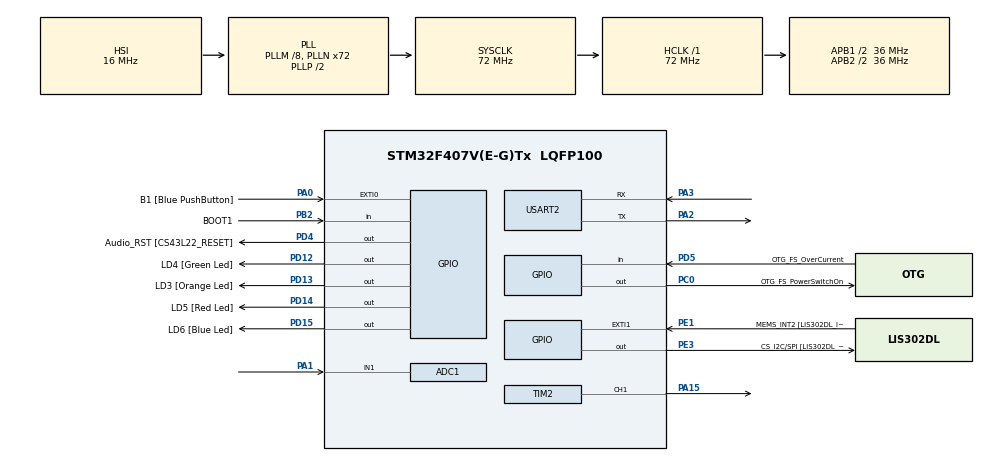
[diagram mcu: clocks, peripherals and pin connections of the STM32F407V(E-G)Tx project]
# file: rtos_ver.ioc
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ADC1.Channel-0\#ChannelRegularConversion=ADC_CHANNEL_1
ADC1.ContinuousConvMode=ENABLE
ADC1.NbrOfConversionFlag=1
ADC1.Rank-0\#ChannelRegularConversion=1
ADC1.SamplingTime-0\#ChannelRegularConversion=ADC_SAMPLETIME_144CYCLES
ADC1.master=1
Dma.ADC1.0.Direction=DMA_PERIPH_TO_MEMORY
Dma.ADC1.0.FIFOMode=DMA_FIFOMODE_DISABLE
Dma.ADC1.0.Instance=DMA2_Stream0
Dma.ADC1.0.MemDataAlignment=DMA_MDATAALIGN_BYTE
Dma.ADC1.0.MemInc=DMA_MINC_ENABLE
Dma.ADC1.0.Mode=DMA_CIRCULAR
Dma.ADC1.0.PeriphDataAlignment=DMA_PDATAALIGN_BYTE
Dma.ADC1.0.PeriphInc=DMA_PINC_DISABLE
Dma.ADC1.0.Priority=DMA_PRIORITY_LOW
Dma.Request0=ADC1
Mcu.Family=STM32F4
Mcu.Name=STM32F407V(E-G)Tx
Mcu.Package=LQFP100
NVIC.DMA2_Stream0_IRQn=true\:0\:0\:false\:false\:true\:false\:true\:true
NVIC.PriorityGroup=NVIC_PRIORITYGROUP_4
NVIC.TIM6_DAC_IRQn=true\:0\:0\:true\:false\:true\:false\:true\:true
NVIC.TimeBase=TIM6_DAC_IRQn
NVIC.TimeBaseIP=TIM6
NVIC.USART2_IRQn=true\:6\:0\:true\:false\:true\:true\:true\:true
PA0-WKUP.GPIO_Label=B1 [Blue PushButton]
PA0-WKUP.Signal=GPXTI0
PA1.Signal=ADCx_IN1
PA10.GPIO_Label=OTG_FS_ID
PA10.GPIO_Mode=GPIO_MODE_AF_PP
PA10.GPIO_PuPd=GPIO_NOPULL
PA10.GPIO_Speed=GPIO_SPEED_FREQ_LOW
PA10.Signal=USB_OTG_FS_ID
PA11.GPIO_Label=OTG_FS_DM
PA11.GPIO_Mode=GPIO_MODE_AF_PP
PA11.GPIO_PuPd=GPIO_NOPULL
PA11.GPIO_Speed=GPIO_SPEED_FREQ_LOW
PA11.Signal=USB_OTG_FS_DM
PA12.GPIO_Label=OTG_FS_DP
PA12.GPIO_Mode=GPIO_MODE_AF_PP
PA12.GPIO_PuPd=GPIO_NOPULL
PA12.GPIO_Speed=GPIO_SPEED_FREQ_LOW
PA12.Signal=USB_OTG_FS_DP
PA13.GPIO_Label=SWDIO
PA13.Mode=Serial_Wire
PA13.Signal=SYS_JTMS-SWDIO
PA14.GPIO_Label=SWCLK
PA14.Mode=Serial_Wire
PA14.Signal=SYS_JTCK-SWCLK
PA15.Signal=S_TIM2_CH1_ETR
PA2.Mode=Asynchronous
PA2.Signal=USART2_TX
PA3.Mode=Asynchronous
PA3.Signal=USART2_RX
PA4.GPIO_Label=I2S3_WS [CS43L22_LRCK]
PA4.GPIO_Mode=GPIO_MODE_AF_PP
PA4.GPIO_PuPd=GPIO_NOPULL
PA4.GPIO_Speed=GPIO_SPEED_FREQ_LOW
PA4.Signal=I2S3_WS
PA5.GPIO_Label=SPI1_SCK [LIS302DL_SCL/SPC]
PA5.GPIO_Mode=GPIO_MODE_AF_PP
PA5.GPIO_PuPd=GPIO_NOPULL
PA5.GPIO_Speed=GPIO_SPEED_FREQ_LOW
PA5.Signal=SPI1_SCK
PA6.GPIO_Label=SPI1_MISO [LIS302DL_SDO]
PA6.GPIO_Mode=GPIO_MODE_AF_PP
PA6.GPIO_PuPd=GPIO_NOPULL
PA6.GPIO_Speed=GPIO_SPEED_FREQ_LOW
PA6.Signal=SPI1_MISO
PA7.GPIO_Label=SPI1_MOSI [LIS302DL_SDA/SDI/SDO]
PA7.GPIO_Mode=GPIO_MODE_AF_PP
PA7.GPIO_PuPd=GPIO_NOPULL
PA7.GPIO_Speed=GPIO_SPEED_FREQ_LOW
PA7.Signal=SPI1_MOSI
PA9.GPIO_Label=VBUS_FS
PA9.GPIO_Mode=GPIO_MODE_INPUT
PA9.GPIO_PuPd=GPIO_NOPULL
PA9.Signal=USB_OTG_FS_VBUS
PB10.GPIO_Label=CLK_IN [MP45DT02_CLK]
PB10.GPIO_Mode=GPIO_MODE_AF_PP
PB10.GPIO_PuPd=GPIO_NOPULL
PB10.GPIO_Speed=GPIO_SPEED_FREQ_LOW
PB10.Signal=I2S2_CK
PB2.GPIO_Label=BOOT1
PB2.GPIO_Mode=GPIO_MODE_INPUT
PB2.GPIO_PuPd=GPIO_NOPULL
PB2.Signal=GPIO_Input
PB3.GPIO_Label=SWO
PB3.Signal=SYS_JTDO-SWO
PB6.GPIO_Label=Audio_SCL [CS43L22_SCL]
PB6.GPIO_Mode=GPIO_MODE_AF_OD
PB6.GPIO_PuPd=GPIO_NOPULL
PB6.GPIO_Speed=GPIO_SPEED_FREQ_LOW
PB6.Signal=I2C1_SCL
PB9.GPIO_Label=Audio_SDA [CS43L22_SDA]
PB9.GPIO_Mode=GPIO_MODE_AF_OD
PB9.GPIO_PuPd=GPIO_NOPULL
PB9.GPIO_Speed=GPIO_SPEED_FREQ_LOW
PB9.Signal=I2C1_SDA
PC0.GPIO_Label=OTG_FS_PowerSwitchOn
PC0.GPIO_PuPd=GPIO_NOPULL
PC0.GPIO_Speed=GPIO_SPEED_FREQ_LOW
PC0.PinState=GPIO_PIN_SET
PC0.Signal=GPIO_Output
PC10.GPIO_Label=I2S3_SCK [CS43L22_SCLK]
PC10.GPIO_Mode=GPIO_MODE_AF_PP
PC10.GPIO_PuPd=GPIO_NOPULL
PC10.GPIO_Speed=GPIO_SPEED_FREQ_LOW
PC10.Signal=I2S3_CK
PC12.GPIO_Label=I2S3_SD [CS43L22_SDIN]
PC12.GPIO_Mode=GPIO_MODE_AF_PP
PC12.GPIO_PuPd=GPIO_NOPULL
PC12.GPIO_Speed=GPIO_SPEED_FREQ_LOW
PC12.Signal=I2S3_SD
PC14-OSC32_IN.GPIO_Label=PC14-OSC32_IN
PC14-OSC32_IN.Signal=RCC_OSC32_IN
PC15-OSC32_OUT.GPIO_Label=PC15-OSC32_OUT
PC15-OSC32_OUT.Signal=RCC_OSC32_OUT
PC3.GPIO_Label=PDM_OUT [MP45DT02_DOUT]
PC3.GPIO_Mode=GPIO_MODE_AF_PP
PC3.GPIO_PuPd=GPIO_NOPULL
PC3.GPIO_Speed=GPIO_SPEED_FREQ_LOW
PC3.Signal=I2S2_SD
PC7.GPIO_Label=I2S3_MCK [CS43L22_MCLK]
PC7.GPIO_Mode=GPIO_MODE_AF_PP
PC7.GPIO_PuPd=GPIO_NOPULL
PC7.GPIO_Speed=GPIO_SPEED_FREQ_LOW
PC7.Signal=I2S3_MCK
PD12.GPIO_Label=LD4 [Green Led]
PD12.GPIO_PuPd=GPIO_NOPULL
PD12.GPIO_Speed=GPIO_SPEED_FREQ_LOW
PD12.Signal=GPIO_Output
PD13.GPIO_Label=LD3 [Orange Led]
PD13.GPIO_PuPd=GPIO_NOPULL
PD13.GPIO_Speed=GPIO_SPEED_FREQ_LOW
PD13.Signal=GPIO_Output
PD14.GPIO_Label=LD5 [Red Led]
PD14.GPIO_PuPd=GPIO_NOPULL
PD14.GPIO_Speed=GPIO_SPEED_FREQ_LOW
PD14.Signal=GPIO_Output
PD15.GPIO_Label=LD6 [Blue Led]
PD15.GPIO_PuPd=GPIO_NOPULL
PD15.GPIO_Speed=GPIO_SPEED_FREQ_LOW
PD15.Signal=GPIO_Output
PD4.GPIO_Label=Audio_RST [CS43L22_RESET]
PD4.GPIO_PuPd=GPIO_NOPULL
PD4.GPIO_Speed=GPIO_SPEED_FREQ_LOW
PD4.Signal=GPIO_Output
PD5.GPIO_Label=OTG_FS_OverCurrent
PD5.GPIO_Mode=GPIO_MODE_INPUT
PD5.GPIO_PuPd=GPIO_NOPULL
PD5.Signal=GPIO_Input
PE1.GPIO_Label=MEMS_INT2 [LIS302DL_INT2]
PE1.GPIO_ModeDefaultEXTI=GPIO_MODE_EVT_RISING
PE1.GPIO_PuPd=GPIO_NOPULL
PE1.Signal=GPXTI1
PE3.GPIO_Label=CS_I2C/SPI [LIS302DL_CS_I2C/SPI]
PE3.GPIO_PuPd=GPIO_NOPULL
PE3.GPIO_Speed=GPIO_SPEED_FREQ_LOW
PE3.Signal=GPIO_Output
PH0-OSC_IN.GPIO_Label=PH0-OSC_IN
PH0-OSC_IN.Signal=RCC_OSC_IN
PH1-OSC_OUT.GPIO_Label=PH1-OSC_OUT
PH1-OSC_OUT.Signal=RCC_OSC_OUT
ProjectManager.HeapSize=0x200
ProjectManager.StackSize=0x400
ProjectManager.TargetToolchain=STM32CubeIDE
RCC.48MHZClocksFreq_Value=20571428.57142857
RCC.AHBFreq_Value=72000000
RCC.APB1CLKDivider=RCC_HCLK_DIV2
RCC.APB1Freq_Value=36000000
RCC.APB1TimFreq_Value=72000000
RCC.APB2CLKDivider=RCC_HCLK_DIV2
RCC.APB2Freq_Value=36000000
RCC.APB2TimFreq_Value=72000000
RCC.CortexFreq_Value=72000000
RCC.HCLKFreq_Value=72000000
RCC.HSE_VALUE=8000000
RCC.HSI_VALUE=16000000
RCC.LSE_VALUE=32768
RCC.PLLM=8
RCC.PLLN=72
RCC.PLLQ=7
RCC.SYSCLKFreq_VALUE=72000000
RCC.SYSCLKSource=RCC_SYSCLKSOURCE_PLLCLK
RCC.VCOOutputFreq_Value=144000000
SH.ADCx_IN1.0=ADC1_IN1,IN1
SH.S_TIM2_CH1_ETR.0=TIM2_CH1,PWM Generation1 CH1
TIM2.AutoReloadPreload=TIM_AUTORELOAD_PRELOAD_DISABLE
TIM2.Channel-PWM\ Generation1\ CH1=TIM_CHANNEL_1
TIM2.Period=100
TIM2.Prescaler=72-1
TIM7.AutoReloadPreload=TIM_AUTORELOAD_PRELOAD_DISABLE
TIM7.Prescaler=72-1
USART2.VirtualMode=VM_ASYNC
VP_SYS_VS_tim6.Mode=TIM6
VP_TIM2_VS_ClockSourceINT.Mode=Internal
VP_TIM7_VS_ClockSourceINT.Mode=Enable_Timer
board=STM32F407G-DISC1

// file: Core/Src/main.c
/* USER CODE BEGIN Header */
/**
  ******************************************************************************
  * @file           : main.c
  * @brief          : Main program body
  ******************************************************************************
  * @attention
  *
  * Copyright (c) 2024 STMicroelectronics.
  * All rights reserved.
  *
  * This software is licensed under terms that can be found in the LICENSE file
  * in the root directory of this software component.
  * If no LICENSE file comes with this software, it is provided AS-IS.
  *
  ******************************************************************************
  */
/* USER CODE END Header */
#include "main.h"

ADC_HandleTypeDef hadc1;
DMA_HandleTypeDef hdma_adc1;

TIM_HandleTypeDef htim2;
TIM_HandleTypeDef htim7;

UART_HandleTypeDef huart2;

/* USER CODE BEGIN PV */
TaskHandle_t read_sensor_handler;
TaskHandle_t pwm_control_handler;

QueueHandle_t q_mode;
QueueHandle_t q_sensor;

volatile uint8_t mode;

uint16_t ADC_Data = 0;
int ADC_Converted = 0;
/* USER CODE END PV */

void SystemClock_Config(void);
static void MX_GPIO_Init(void);
static void MX_DMA_Init(void);
static void MX_USART2_UART_Init(void);
static void MX_TIM7_Init(void);
static void MX_TIM2_Init(void);
static void MX_ADC1_Init(void);

/* USER CODE BEGIN 0 */
long map(long x, long in_min, long in_max, long out_min, long out_max)
{
	return (x-in_min) * (out_max-out_min+1) / (in_max-in_min+1) + out_min;
}

void HAL_ADC_ConvCpltCallback(ADC_HandleTypeDef* hadc)
{
    // Conversion Complete & DMA Transfer Complete As Well
    ADC_Converted = map (ADC_Data, 0, 4095, 50, 100);

    TIM2->CCR1 = ADC_Converted;

}

/* This function called from UART interrupt handler , hence executes in interrupt context */
void HAL_UART_RxCpltCallback(UART_HandleTypeDef *huart)
{
	if(! xQueueIsQueueFullFromISR(q_mode))
	{
		xQueueSendFromISR(q_mode, (void*) &mode, NULL);

	}

	/* Enable UART data byte reception again in IT mode */
	 HAL_UART_Receive_IT(&huart2, (uint8_t*)&mode, 1);

}

/* USER CODE END 0 */

int main(void)
{
  /* USER CODE BEGIN 1 */
	UBaseType_t status;
  /* USER CODE END 1 */

  /* MCU Configuration--------------------------------------------------------*/

  /* Reset of all peripherals, Initializes the Flash interface and the Systick. */
  HAL_Init();

  /* Configure the system clock */
  SystemClock_Config();

  /* Initialize all configured peripherals */
  MX_GPIO_Init();
  MX_DMA_Init();
  MX_USART2_UART_Init();
  MX_TIM7_Init();
  MX_TIM2_Init();
  MX_ADC1_Init();
  /* USER CODE BEGIN 2 */

  //Timer delay
  HAL_TIM_Base_Start(&htim7);

  //Timer PWM
  HAL_TIM_PWM_Start(&htim2, TIM_CHANNEL_1);

  HAL_ADC_Start_DMA(&hadc1, (uint32_t*) &ADC_Data, 1);

  status = xTaskCreate(read_sensor, "Sensor reading", 500, NULL, 2, &read_sensor_handler);
  configASSERT(status==pdPASS);

  status = xTaskCreate(pwm_control, "PWM control", 500, NULL, 2, &pwm_control_handler);
  configASSERT(status==pdPASS);

  q_mode = xQueueCreate(1, sizeof(char));
  configASSERT(q_mode != NULL);

  q_sensor = xQueueCreate(10, sizeof(sensor_t));
  configASSERT(q_sensor != NULL);

  HAL_UART_Receive_IT(&huart2, (uint8_t*)&mode, 1);

  vTaskStartScheduler();
  /* USER CODE END 2 */

  /* Infinite loop */
  while (1)
  {

  }
}

void SystemClock_Config(void)
{
  RCC_OscInitTypeDef RCC_OscInitStruct = {0};
  RCC_ClkInitTypeDef RCC_ClkInitStruct = {0};

  /** Configure the main internal regulator output voltage
  */
  __HAL_RCC_PWR_CLK_ENABLE();
  __HAL_PWR_VOLTAGESCALING_CONFIG(PWR_REGULATOR_VOLTAGE_SCALE1);

  /** Initializes the RCC Oscillators according to the specified parameters
  * in the RCC_OscInitTypeDef structure.
  */
  RCC_OscInitStruct.OscillatorType = RCC_OSCILLATORTYPE_HSI;
  RCC_OscInitStruct.HSIState = RCC_HSI_ON;
  RCC_OscInitStruct.HSICalibrationValue = RCC_HSICALIBRATION_DEFAULT;
  RCC_OscInitStruct.PLL.PLLState = RCC_PLL_ON;
  RCC_OscInitStruct.PLL.PLLSource = RCC_PLLSOURCE_HSI;
  RCC_OscInitStruct.PLL.PLLM = 8;
  RCC_OscInitStruct.PLL.PLLN = 72;
  RCC_OscInitStruct.PLL.PLLP = RCC_PLLP_DIV2;
  RCC_OscInitStruct.PLL.PLLQ = 7;
  if (HAL_RCC_OscConfig(&RCC_OscInitStruct) != HAL_OK)
  {
    Error_Handler();
  }

  /** Initializes the CPU, AHB and APB buses clocks
  */
  RCC_ClkInitStruct.ClockType = RCC_CLOCKTYPE_HCLK|RCC_CLOCKTYPE_SYSCLK
                              |RCC_CLOCKTYPE_PCLK1|RCC_CLOCKTYPE_PCLK2;
  RCC_ClkInitStruct.SYSCLKSource = RCC_SYSCLKSOURCE_PLLCLK;
  RCC_ClkInitStruct.AHBCLKDivider = RCC_SYSCLK_DIV1;
  RCC_ClkInitStruct.APB1CLKDivider = RCC_HCLK_DIV2;
  RCC_ClkInitStruct.APB2CLKDivider = RCC_HCLK_DIV2;

  if (HAL_RCC_ClockConfig(&RCC_ClkInitStruct, FLASH_LATENCY_2) != HAL_OK)
  {
    Error_Handler();
  }
}

static void MX_ADC1_Init(void)
{

  ADC_ChannelConfTypeDef sConfig = {0};

  /** Configure the global features of the ADC (Clock, Resolution, Data Alignment and number of conversion)
  */
  hadc1.Instance = ADC1;
  hadc1.Init.ClockPrescaler = ADC_CLOCK_SYNC_PCLK_DIV2;
  hadc1.Init.Resolution = ADC_RESOLUTION_12B;
  hadc1.Init.ScanConvMode = DISABLE;
  hadc1.Init.ContinuousConvMode = ENABLE;
  hadc1.Init.DiscontinuousConvMode = DISABLE;
  hadc1.Init.ExternalTrigConvEdge = ADC_EXTERNALTRIGCONVEDGE_NONE;
  hadc1.Init.ExternalTrigConv = ADC_SOFTWARE_START;
  hadc1.Init.DataAlign = ADC_DATAALIGN_RIGHT;
  hadc1.Init.NbrOfConversion = 1;
  hadc1.Init.DMAContinuousRequests = DISABLE;
  hadc1.Init.EOCSelection = ADC_EOC_SINGLE_CONV;
  if (HAL_ADC_Init(&hadc1) != HAL_OK)
  {
    Error_Handler();
  }

  /** Configure for the selected ADC regular channel its corresponding rank in the sequencer and its sample time.
  */
  sConfig.Channel = ADC_CHANNEL_1;
  sConfig.Rank = 1;
  sConfig.SamplingTime = ADC_SAMPLETIME_144CYCLES;
  if (HAL_ADC_ConfigChannel(&hadc1, &sConfig) != HAL_OK)
  {
    Error_Handler();
  }

}

static void MX_TIM2_Init(void)
{

  TIM_ClockConfigTypeDef sClockSourceConfig = {0};
  TIM_MasterConfigTypeDef sMasterConfig = {0};
  TIM_OC_InitTypeDef sConfigOC = {0};

  htim2.Instance = TIM2;
  htim2.Init.Prescaler = 72-1;
  htim2.Init.CounterMode = TIM_COUNTERMODE_UP;
  htim2.Init.Period = 100;
  htim2.Init.ClockDivision = TIM_CLOCKDIVISION_DIV1;
  htim2.Init.AutoReloadPreload = TIM_AUTORELOAD_PRELOAD_DISABLE;
  if (HAL_TIM_Base_Init(&htim2) != HAL_OK)
  {
    Error_Handler();
  }
  sClockSourceConfig.ClockSource = TIM_CLOCKSOURCE_INTERNAL;
  if (HAL_TIM_ConfigClockSource(&htim2, &sClockSourceConfig) != HAL_OK)
  {
    Error_Handler();
  }
  if (HAL_TIM_PWM_Init(&htim2) != HAL_OK)
  {
    Error_Handler();
  }
  sMasterConfig.MasterOutputTrigger = TIM_TRGO_RESET;
  sMasterConfig.MasterSlaveMode = TIM_MASTERSLAVEMODE_DISABLE;
  if (HAL_TIMEx_MasterConfigSynchronization(&htim2, &sMasterConfig) != HAL_OK)
  {
    Error_Handler();
  }
  sConfigOC.OCMode = TIM_OCMODE_PWM1;
  sConfigOC.Pulse = 0;
  sConfigOC.OCPolarity = TIM_OCPOLARITY_HIGH;
  sConfigOC.OCFastMode = TIM_OCFAST_DISABLE;
  if (HAL_TIM_PWM_ConfigChannel(&htim2, &sConfigOC, TIM_CHANNEL_1) != HAL_OK)
  {
    Error_Handler();
  }
  HAL_TIM_MspPostInit(&htim2);

}

static void MX_TIM7_Init(void)
{

  TIM_MasterConfigTypeDef sMasterConfig = {0};

  htim7.Instance = TIM7;
  htim7.Init.Prescaler = 72-1;
  htim7.Init.CounterMode = TIM_COUNTERMODE_UP;
  htim7.Init.Period = 65535;
  htim7.Init.AutoReloadPreload = TIM_AUTORELOAD_PRELOAD_DISABLE;
  if (HAL_TIM_Base_Init(&htim7) != HAL_OK)
  {
    Error_Handler();
  }
  sMasterConfig.MasterOutputTrigger = TIM_TRGO_RESET;
  sMasterConfig.MasterSlaveMode = TIM_MASTERSLAVEMODE_DISABLE;
  if (HAL_TIMEx_MasterConfigSynchronization(&htim7, &sMasterConfig) != HAL_OK)
  {
    Error_Handler();
  }

}

static void MX_USART2_UART_Init(void)
{

  huart2.Instance = USART2;
  huart2.Init.BaudRate = 115200;
  huart2.Init.WordLength = UART_WORDLENGTH_8B;
  huart2.Init.StopBits = UART_STOPBITS_1;
  huart2.Init.Parity = UART_PARITY_NONE;
  huart2.Init.Mode = UART_MODE_TX_RX;
  huart2.Init.HwFlowCtl = UART_HWCONTROL_NONE;
  huart2.Init.OverSampling = UART_OVERSAMPLING_16;
  if (HAL_UART_Init(&huart2) != HAL_OK)
  {
    Error_Handler();
  }

}

static void MX_DMA_Init(void)
{

  /* DMA controller clock enable */
  __HAL_RCC_DMA2_CLK_ENABLE();

  /* DMA interrupt init */
  /* DMA2_Stream0_IRQn interrupt configuration */
  HAL_NVIC_SetPriority(DMA2_Stream0_IRQn, 0, 0);
  HAL_NVIC_EnableIRQ(DMA2_Stream0_IRQn);

}

static void MX_GPIO_Init(void)
{
  GPIO_InitTypeDef GPIO_InitStruct = {0};

  /* GPIO Ports Clock Enable */
  __HAL_RCC_GPIOE_CLK_ENABLE();
  __HAL_RCC_GPIOC_CLK_ENABLE();
  __HAL_RCC_GPIOH_CLK_ENABLE();
  __HAL_RCC_GPIOA_CLK_ENABLE();
  __HAL_RCC_GPIOB_CLK_ENABLE();
  __HAL_RCC_GPIOD_CLK_ENABLE();

  /*Configure GPIO pin Output Level */
  HAL_GPIO_WritePin(CS_I2C_SPI_GPIO_Port, CS_I2C_SPI_Pin, GPIO_PIN_RESET);

  /*Configure GPIO pin Output Level */
  HAL_GPIO_WritePin(OTG_FS_PowerSwitchOn_GPIO_Port, OTG_FS_PowerSwitchOn_Pin, GPIO_PIN_SET);

  /*Configure GPIO pin Output Level */
  HAL_GPIO_WritePin(GPIOD, LD4_Pin|LD3_Pin|LD5_Pin|LD6_Pin
                          |Audio_RST_Pin, GPIO_PIN_RESET);

  /*Configure GPIO pin : CS_I2C_SPI_Pin */
  GPIO_InitStruct.Pin = CS_I2C_SPI_Pin;
  GPIO_InitStruct.Mode = GPIO_MODE_OUTPUT_PP;
  GPIO_InitStruct.Pull = GPIO_NOPULL;
  GPIO_InitStruct.Speed = GPIO_SPEED_FREQ_LOW;
  HAL_GPIO_Init(CS_I2C_SPI_GPIO_Port, &GPIO_InitStruct);

  /*Configure GPIO pin : OTG_FS_PowerSwitchOn_Pin */
  GPIO_InitStruct.Pin = OTG_FS_PowerSwitchOn_Pin;
  GPIO_InitStruct.Mode = GPIO_MODE_OUTPUT_PP;
  GPIO_InitStruct.Pull = GPIO_NOPULL;
  GPIO_InitStruct.Speed = GPIO_SPEED_FREQ_LOW;
  HAL_GPIO_Init(OTG_FS_PowerSwitchOn_GPIO_Port, &GPIO_InitStruct);

  /*Configure GPIO pin : PDM_OUT_Pin */
  GPIO_InitStruct.Pin = PDM_OUT_Pin;
  GPIO_InitStruct.Mode = GPIO_MODE_AF_PP;
  GPIO_InitStruct.Pull = GPIO_NOPULL;
  GPIO_InitStruct.Speed = GPIO_SPEED_FREQ_LOW;
  GPIO_InitStruct.Alternate = GPIO_AF5_SPI2;
  HAL_GPIO_Init(PDM_OUT_GPIO_Port, &GPIO_InitStruct);

  /*Configure GPIO pin : B1_Pin */
  GPIO_InitStruct.Pin = B1_Pin;
  GPIO_InitStruct.Mode = GPIO_MODE_IT_RISING;
  GPIO_InitStruct.Pull = GPIO_NOPULL;
  HAL_GPIO_Init(B1_GPIO_Port, &GPIO_InitStruct);

  /*Configure GPIO pin : I2S3_WS_Pin */
  GPIO_InitStruct.Pin = I2S3_WS_Pin;
  GPIO_InitStruct.Mode = GPIO_MODE_AF_PP;
  GPIO_InitStruct.Pull = GPIO_NOPULL;
  GPIO_InitStruct.Speed = GPIO_SPEED_FREQ_LOW;
  GPIO_InitStruct.Alternate = GPIO_AF6_SPI3;
  HAL_GPIO_Init(I2S3_WS_GPIO_Port, &GPIO_InitStruct);

  /*Configure GPIO pins : SPI1_SCK_Pin SPI1_MISO_Pin SPI1_MOSI_Pin */
  GPIO_InitStruct.Pin = SPI1_SCK_Pin|SPI1_MISO_Pin|SPI1_MOSI_Pin;
  GPIO_InitStruct.Mode = GPIO_MODE_AF_PP;
  GPIO_InitStruct.Pull = GPIO_NOPULL;
  GPIO_InitStruct.Speed = GPIO_SPEED_FREQ_LOW;
  GPIO_InitStruct.Alternate = GPIO_AF5_SPI1;
  HAL_GPIO_Init(GPIOA, &GPIO_InitStruct);

  /*Configure GPIO pin : BOOT1_Pin */
  GPIO_InitStruct.Pin = BOOT1_Pin;
  GPIO_InitStruct.Mode = GPIO_MODE_INPUT;
  GPIO_InitStruct.Pull = GPIO_NOPULL;
  HAL_GPIO_Init(BOOT1_GPIO_Port, &GPIO_InitStruct);

  /*Configure GPIO pin : CLK_IN_Pin */
  GPIO_InitStruct.Pin = CLK_IN_Pin;
  GPIO_InitStruct.Mode = GPIO_MODE_AF_PP;
  GPIO_InitStruct.Pull = GPIO_NOPULL;
  GPIO_InitStruct.Speed = GPIO_SPEED_FREQ_LOW;
  GPIO_InitStruct.Alternate = GPIO_AF5_SPI2;
  HAL_GPIO_Init(CLK_IN_GPIO_Port, &GPIO_InitStruct);

  /*Configure GPIO pins : LD4_Pin LD3_Pin LD5_Pin LD6_Pin
                           Audio_RST_Pin */
  GPIO_InitStruct.Pin = LD4_Pin|LD3_Pin|LD5_Pin|LD6_Pin
                          |Audio_RST_Pin;
  GPIO_InitStruct.Mode = GPIO_MODE_OUTPUT_PP;
  GPIO_InitStruct.Pull = GPIO_NOPULL;
  GPIO_InitStruct.Speed = GPIO_SPEED_FREQ_LOW;
  HAL_GPIO_Init(GPIOD, &GPIO_InitStruct);

  /*Configure GPIO pins : I2S3_MCK_Pin I2S3_SCK_Pin I2S3_SD_Pin */
  GPIO_InitStruct.Pin = I2S3_MCK_Pin|I2S3_SCK_Pin|I2S3_SD_Pin;
  GPIO_InitStruct.Mode = GPIO_MODE_AF_PP;
  GPIO_InitStruct.Pull = GPIO_NOPULL;
  GPIO_InitStruct.Speed = GPIO_SPEED_FREQ_LOW;
  GPIO_InitStruct.Alternate = GPIO_AF6_SPI3;
  HAL_GPIO_Init(GPIOC, &GPIO_InitStruct);

  /*Configure GPIO pin : VBUS_FS_Pin */
  GPIO_InitStruct.Pin = VBUS_FS_Pin;
  GPIO_InitStruct.Mode = GPIO_MODE_INPUT;
  GPIO_InitStruct.Pull = GPIO_NOPULL;
  HAL_GPIO_Init(VBUS_FS_GPIO_Port, &GPIO_InitStruct);

  /*Configure GPIO pins : OTG_FS_ID_Pin OTG_FS_DM_Pin OTG_FS_DP_Pin */
  GPIO_InitStruct.Pin = OTG_FS_ID_Pin|OTG_FS_DM_Pin|OTG_FS_DP_Pin;
  GPIO_InitStruct.Mode = GPIO_MODE_AF_PP;
  GPIO_InitStruct.Pull = GPIO_NOPULL;
  GPIO_InitStruct.Speed = GPIO_SPEED_FREQ_LOW;
  GPIO_InitStruct.Alternate = GPIO_AF10_OTG_FS;
  HAL_GPIO_Init(GPIOA, &GPIO_InitStruct);

  /*Configure GPIO pin : OTG_FS_OverCurrent_Pin */
  GPIO_InitStruct.Pin = OTG_FS_OverCurrent_Pin;
  GPIO_InitStruct.Mode = GPIO_MODE_INPUT;
  GPIO_InitStruct.Pull = GPIO_NOPULL;
  HAL_GPIO_Init(OTG_FS_OverCurrent_GPIO_Port, &GPIO_InitStruct);

  /*Configure GPIO pins : Audio_SCL_Pin Audio_SDA_Pin */
  GPIO_InitStruct.Pin = Audio_SCL_Pin|Audio_SDA_Pin;
  GPIO_InitStruct.Mode = GPIO_MODE_AF_OD;
  GPIO_InitStruct.Pull = GPIO_NOPULL;
  GPIO_InitStruct.Speed = GPIO_SPEED_FREQ_LOW;
  GPIO_InitStruct.Alternate = GPIO_AF4_I2C1;
  HAL_GPIO_Init(GPIOB, &GPIO_InitStruct);

  /*Configure GPIO pin : MEMS_INT2_Pin */
  GPIO_InitStruct.Pin = MEMS_INT2_Pin;
  GPIO_InitStruct.Mode = GPIO_MODE_EVT_RISING;
  GPIO_InitStruct.Pull = GPIO_NOPULL;
  HAL_GPIO_Init(MEMS_INT2_GPIO_Port, &GPIO_InitStruct);

}

void HAL_TIM_PeriodElapsedCallback(TIM_HandleTypeDef *htim)
{
  if (htim->Instance == TIM6) {
    HAL_IncTick();
  }
}

void Error_Handler(void)
{
  __disable_irq();
  while (1)
  {
  }
}
